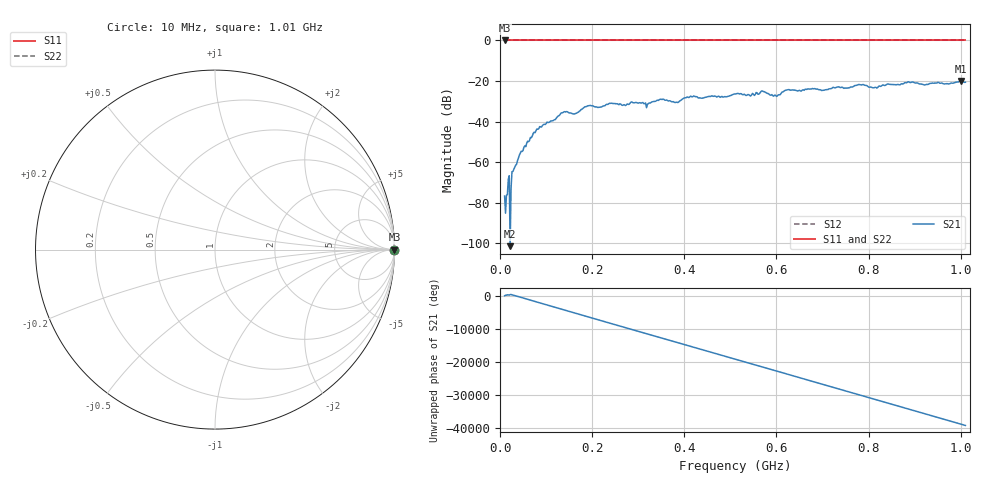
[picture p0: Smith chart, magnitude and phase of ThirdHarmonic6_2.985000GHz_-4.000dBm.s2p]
! 8/17/2025 8:29:22 AM
! C:\ANRITSUVNA\TEMP\TEMP.S2P
! CHANNEL.1
! TR.MEASUREMENT
! RAW.DATA
! RF.CORRECTION.OFF
! AVERAGING.OFF
! IF.BANDWIDTH: 5KHZ
! SWEEPTYPE:  FREQ.SWEEP(Linear)
! Reference Plane Port Info
! PORT:  PORT1  PORT2
! DISTANCE:  0  m  0  m
! TIME:  0  s  0  s
! PHASE.OFFSET:  0  deg.  0  deg.
! LOSS:  0  dB  0  dB
! REF.LOSS:  0  dB  0  dB
! REF.FREQ:  0  Hz  0  Hz
! Power Info
! POWER:  -20  dBm  -20  dBm
! EFF.POWER:  -20  dBm  -20  dBm
! SOURCE.ATTEN:  0  dB  0  dB
! TEST.ATTEN:  0  dB  0  dB
# GHZ S RI R 50.0
! FREQ.GHZ  S11RE  S11IM  S21RE  S21IM  S12RE  S12IM  S22RE  S22IM
!; PortSelection: Port_12
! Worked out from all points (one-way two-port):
!   501 points, 10 MHz to 1.01 GHz, reference 50 ohm
!   highest |S21| = -19.94 dB at 1 GHz (marker M1); lowest = -101.3 dB at 22 MHz (marker M2)
!   lowest |S11| = 0.0 dB at 10 MHz (marker M3)
!   |S11| at or under -10 dB: nowhere
!   |S22| runs from 0.0 to 0.0 dB; largest |S21 - S12| = 1.1
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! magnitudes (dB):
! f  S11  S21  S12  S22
! 10 MHz  0.0  -76.7  0.0  0.0
! 22 MHz  0.0  -101.3  0.0  0.0
! 26 MHz  0.0  -64.7  0.0  0.0
! 30 MHz  0.0  -63.5  0.0  0.0
! 42 MHz  0.0  -56.5  0.0  0.0
! 76 MHz  0.0  -45.4  0.0  0.0
! 136 MHz  0.0  -35.6  0.0  0.0
! 162 MHz  0.0  -36.2  0.0  0.0
! 178 MHz  0.0  -33.9  0.0  0.0
! 240 MHz  0.0  -31.0  0.0  0.0
! 322 MHz  0.0  -31.1  0.0  0.0
! 344 MHz  0.0  -29.5  0.0  0.0
! 384 MHz  0.0  -30.4  0.0  0.0
! 418 MHz  0.0  -27.7  0.0  0.0
! 510 MHz  0.0  -26.4  0.0  0.0
! 570 MHz  0.0  -25.0  0.0  0.0
! 598 MHz  0.0  -27.0  0.0  0.0
! 624 MHz  0.0  -24.3  0.0  0.0
! 678 MHz  0.0  -23.6  0.0  0.0
! 844 MHz  0.0  -21.6  0.0  0.0
! 1 GHz  0.0  -19.9  0.0  0.0
! 1.01 GHz  0.0  -20.6  0.0  0.0
